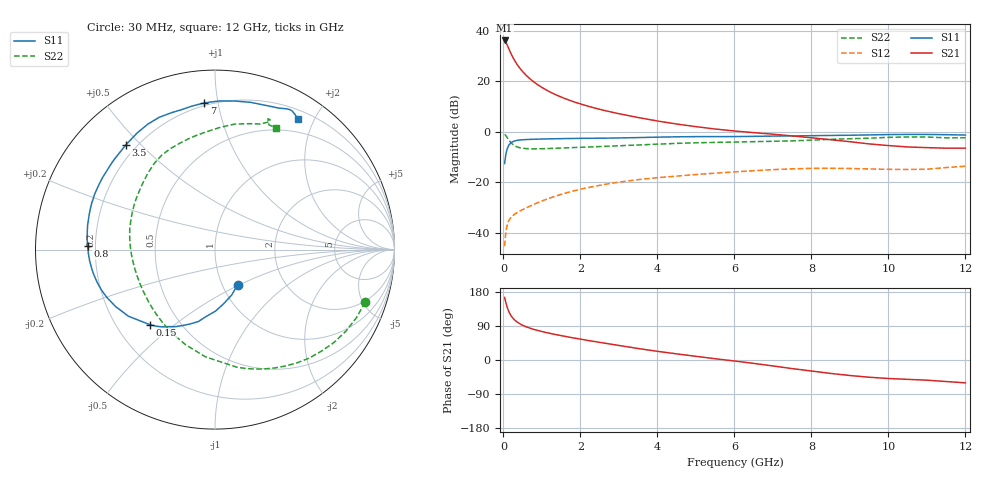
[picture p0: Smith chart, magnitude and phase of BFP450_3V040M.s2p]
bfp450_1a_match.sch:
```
<Qucs Schematic 0.0.19>
<Properties>
  <View=-104,-450,882,1617,0.767173,0,53>
  <Grid=10,10,1>
  <DataSet=bfp450_1a_match.dat>
  <DataDisplay=bfp450_1a_match.dpl>
  <OpenDisplay=1>
  <Script=bfp450_1a_match.m>
  <RunScript=0>
  <showFrame=0>
  <FrameText0=Title>
  <FrameText1=Drawn By:>
  <FrameText2=Date:>
  <FrameText3=Revision:>
</Properties>
<Symbol>
</Symbol>
<Components>
  <GND * 1 310 110 0 0 0 0>
  <L L3 1 250 80 -26 10 0 0 "3.39628nH" 1 "" 0>
  <R R4 2 530 80 -26 -47 0 2 "3.5Ohm" 1 "26.85" 0 "0.0" 0 "0.0" 0 "26.85" 0 "european" 0>
  <C C10 1 430 80 -52 10 1 2 "41.1255pF" 1 "" 0 "neutral" 0>
  <R R2 2 170 80 -26 15 0 0 "0.20 Ohm" 1 "26.85" 0 "0.0" 0 "0.0" 0 "26.85" 0 "european" 0>
  <C C5 1 80 80 -26 -49 0 2 "100n" 1 "" 0 "neutral" 0>
  <Pac P1 1 -10 110 18 -26 0 1 "1" 1 "50 Ohm" 1 "0 dBm" 0 "1 GHz" 0 "26.85" 0>
  <GND * 1 -10 140 0 0 0 0>
  <C C7 1 630 80 -26 -49 0 2 "100n" 1 "" 0 "neutral" 0>
  <Pac P5 1 700 110 18 -26 0 1 "2" 1 "50 Ohm" 1 "0 dBm" 0 "1 GHz" 0 "26.85" 0>
  <GND * 1 700 140 0 0 0 0>
  <GND * 1 120 250 0 0 0 0>
  <R R1 2 120 220 15 -26 0 1 "0.2Ohm" 1 "26.85" 0 "0.0" 0 "0.0" 0 "26.85" 0 "european" 0>
  <C C3 1 120 160 17 -26 0 1 "5.68261pF" 1 "" 0 "neutral" 0>
  <GND * 1 580 230 0 0 0 0>
  <R R3 2 580 200 15 -26 0 1 "3Ohm" 1 "26.85" 0 "0.0" 0 "0.0" 0 "26.85" 0 "european" 0>
  <L L13 1 580 140 -87 -26 0 3 "9.54728nH" 1 "" 0>
  <.SP SP2 1 0 310 0 74 0 0 "const" 1 "0.03 GHz" 0 "12 GHz" 0 "[900MHz]" 1 "yes" 0 "1" 0 "2" 0 "no" 0 "no" 0>
  <Eqn Eqn1 1 200 310 -28 15 0 0 "K=StabFactor(S)" 1 "S11dB=dB(S[1,1])" 1 "S21dB=dB(S[2,1])" 1 "S22dB=dB(S[2,2])" 1 "Fmindb=w2dbm(Fmin)-30" 1 "Fdb=w2dbm(F)-30" 1 "yes" 0>
  <Eqn Eqn2 1 420 310 -28 15 0 0 "GA=GaCircle(S,linspace(50,200,16))" 1 "GP=GpCircle(S,linspace(50,200,16))" 1 "SL=StabCircleL(S)" 1 "SG=StabCircleS(S)" 1 "NF=NoiseCircle(Sopt,Fmin,Rn,[Fmin,1.4,1.5,2,2.5,3])" 1 "yes" 0>
  <SPfile X1 1 310 80 -26 -53 0 0 "BFP450_3V040M.s2p" 1 "rectangular" 0 "linear" 0 "open" 0 "2" 0>
</Components>
<Wires>
  <560 80 580 80 "" 0 0 0 "">
  <340 80 400 80 "" 0 0 0 "">
  <460 80 500 80 "" 0 0 0 "">
  <200 80 220 80 "" 0 0 0 "">
  <120 80 140 80 "" 0 0 0 "">
  <110 80 120 80 "" 0 0 0 "">
  <-10 80 50 80 "" 0 0 0 "">
  <660 80 700 80 "" 0 0 0 "">
  <120 80 120 130 "" 0 0 0 "">
  <580 80 600 80 "" 0 0 0 "">
  <580 80 580 110 "" 0 0 0 "">
</Wires>
<Diagrams>
</Diagrams>
<Paintings>
  <Text 140 -90 14 #000000 0 "Small Signal Simulation for Transistor with \nMatching Networks.\n(try out resistors to observe stability bahaviour)">
</Paintings>
```
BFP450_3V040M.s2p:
! Infineon Technologies  Discrete & RF Semiconductors
! BFP450
! VCE =  3.0 V,  IC =  40 mA
! Common Emitter S-Parameters:  Sep 2010
# GHz  S  MA  R  50
!  f  S11  S21  S12  S22
! GHz  MAG  ANG  MAG  ANG  MAG  ANG  MAG  ANG
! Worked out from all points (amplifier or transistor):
!   58 points, 30 MHz to 12 GHz, reference 50 ohm
!   highest |S21| = 36.2 dB at 30 MHz (marker M1)
!   |S21| within 3 dB of that: start of sweep to 130.9 MHz
!   unconditionally stable (mu >= 1): 1.283 GHz to end of sweep
!   at 120 MHz: K = 0.27, MSG = 34.8 dB, |S12| = -36.0 dB
!   at 1.5 GHz: K = 1.03, MAG = 18.1 dB, |S12| = -24.8 dB
!   at 12 GHz: K = 1.09, MAG = 1.7 dB, |S12| = -13.6 dB
!   lowest NFmin = 1.41 dB at 450 MHz
!   S11 on the Smith chart (normalised r, x): 30 MHz: 1.18, -0.49; 150 MHz: 0.34, -0.41; 800 MHz: 0.17, +0.01; 3.5 GHz: 0.16, +0.45; 7 GHz: 0.18, +0.91; 12 GHz: 0.32, +1.78
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0.03  0.2335 -57.5  64.36 165.3  0.0054 76.0  0.8866 -19.3
0.08  0.411 -103.0  55.8 145.0  0.0123 62.8  0.8006 -49.0
0.15  0.5538 -131.0  42.21 125.6  0.0179 51.2  0.6664 -79.5
0.25  0.6383 -150.2  29.29 110.0  0.022 45.0  0.5543 -107.3
0.35  0.6725 -160.7  21.81 100.7  0.0248 44.1  0.5021 -125.1
0.8  0.7102 178.5  9.557 80.4  0.0367 48.5  0.4581 -161.5
1.7  0.7342 159.2  4.247 60.5  0.0635 48.6  0.482 170.6
3.5  0.7657 130.6  1.911 30.3  0.1124 32.1  0.5462 137.6
6.5  0.8094 99.3  0.96 -8.9  0.1689 3.3  0.6358 103.1
7  0.8196 94.2  0.893 -15.7  0.1774 -2.2  0.6461 98.7
12  0.8604 57.5  0.473 -60.3  0.2079 -40.6  0.7588 63.6
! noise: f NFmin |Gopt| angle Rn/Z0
0.45  1.41  0.49  -173  0.06
0.9  1.48  0.51  -169  0.07
1.9  1.59  0.57  -153  0.1
2.4  1.69  0.58  -145  0.12

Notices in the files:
qucs-doc/tutorial/sparameteramp/S_PARAM_AMP_prj/BFP450_3V040M.s2p:
(c) 2010  Infineon Technologies AG, Munich
